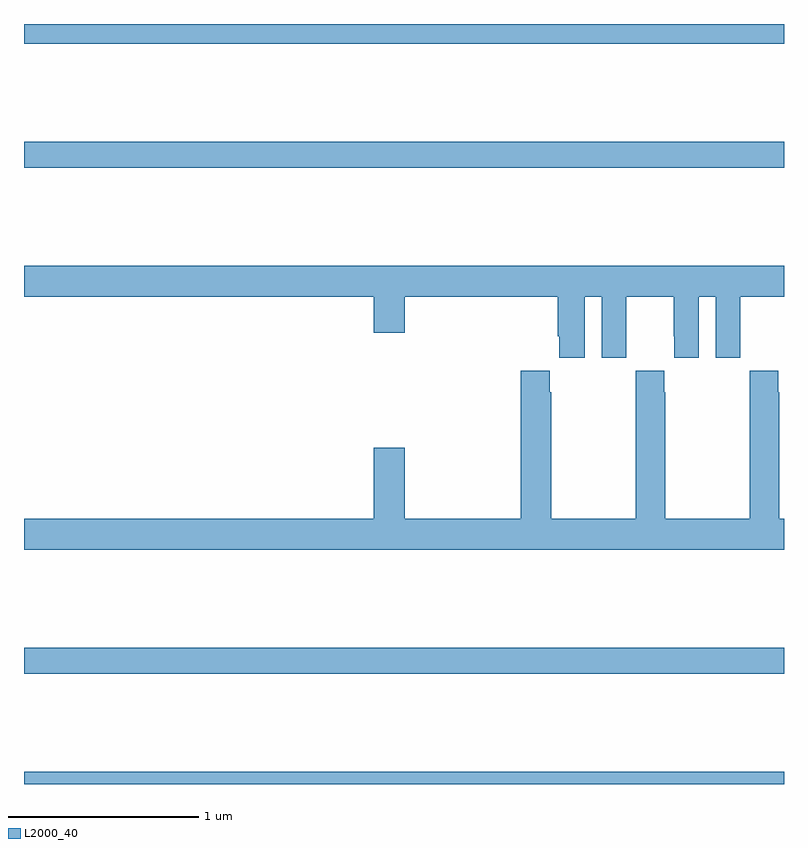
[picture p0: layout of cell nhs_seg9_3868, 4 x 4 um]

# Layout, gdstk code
import gdstk
lib = gdstk.Library(unit=1e-6, precision=1e-09)
def R(c, l, rs):  # rectangles x0, y0, x1, y1
    for r in rs: c.add(gdstk.rectangle(r[:2], r[2:], *l))
def P(c, l, *ps):  # polygons
    for p in ps: c.add(gdstk.Polygon(p, *l))
L2000_40 = (2000, 40)

nhs_seg9_3868 = lib.new_cell('nhs_seg9_3868')
R(nhs_seg9_3868, L2000_40, [(331,1216.5,335,1216.564), (331,1217.08,335,1217.216), (331,1219.744,335,1219.88), (331,1220.396,335,1220.5)])
P(nhs_seg9_3868, L2000_40, [(333.952,1219.064),(334.04,1219.064),(334.04,1218.744),(334.17,1218.744),(334.17,1218.856),(334.171,1218.856),(334.171,1219.064),(334.421,1219.064),(334.421,1218.856),(334.422,1218.856),(334.422,1218.744),(334.552,1218.744),(334.552,1219.064),(334.64,1219.064),(334.64,1218.744),(334.77,1218.744),(334.77,1218.856),(334.771,1218.856),(334.771,1219.064),(335,1219.064),(335,1219.228),(331,1219.228),(331,1219.064),(332.84,1219.064),(332.84,1218.876),(333.004,1218.876),(333.004,1219.064),(333.809,1219.064),(333.809,1218.856),(333.818,1218.856),(333.818,1218.744),(333.952,1218.744)],
  [(335,1217.896),(334.974,1217.896),(334.974,1218.563),(334.971,1218.563),(334.971,1218.676),(334.821,1218.676),(334.821,1218.563),(334.819,1218.563),(334.819,1217.896),(334.374,1217.896),(334.374,1218.563),(334.371,1218.563),(334.371,1218.676),(334.221,1218.676),(334.221,1218.563),(334.219,1218.563),(334.219,1217.896),(333.774,1217.896),(333.774,1218.563),(333.767,1218.563),(333.767,1218.676),(333.614,1218.676),(333.614,1217.896),(333.004,1217.896),(333.004,1218.271),(332.84,1218.271),(332.84,1217.896),(331,1217.896),(331,1217.732),(335,1217.732)])

lib.write_gds('nhs_seg9_3868.gds')
